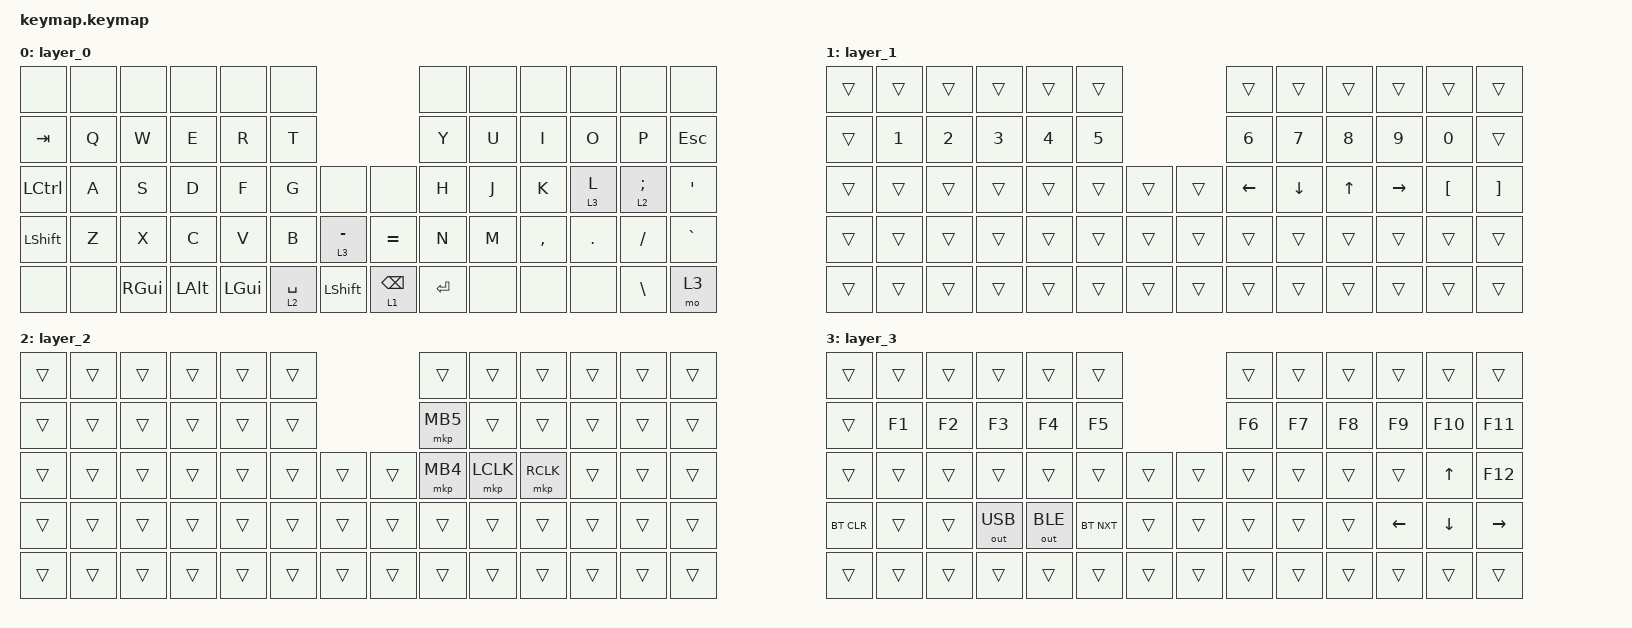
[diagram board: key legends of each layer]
#include <behaviors.dtsi>
#include <dt-bindings/zmk/bt.h>
#include <dt-bindings/zmk/input_transform.h>
#include <dt-bindings/zmk/keys.h>
#include <dt-bindings/zmk/outputs.h>
#include <dt-bindings/zmk/pointing.h>
#include <input/processors.dtsi>

/ {
    combos {
        compatible = "zmk,combos";

        bt_clear {
            bindings = <&bt BT_CLR>;
            key-positions = <28 29>;
            layers = <2>;
        };
    };

    keymap {
        compatible = "zmk,keymap";

        layer_0 {
            bindings = <
&none      &none  &none     &none     &none     &none                                    &none      &none  &none      &none    &none       &none
&kp TAB    &kp Q  &kp W     &kp E     &kp R     &kp T                                    &kp Y      &kp U  &kp I      &kp O    &kp P       &kp ESC
&kp LCTRL  &kp A  &kp S     &kp D     &kp F     &kp G        &none           &none       &kp H      &kp J  &kp K      &lt 3 L  &lt 2 SEMI  &kp SQT
&kp LSHFT  &kp Z  &kp X     &kp C     &kp V     &kp B        &lt 3 MINUS     &kp EQUAL   &kp N      &kp M  &kp COMMA  &kp DOT  &kp FSLH    &kp GRAVE
&none      &none  &kp RGUI  &kp LALT  &kp LGUI  &lt 2 SPACE  &kp LEFT_SHIFT  &lt 1 BSPC  &kp ENTER  &none  &none      &none    &kp BSLH    &mo 3
            >;
        };

        // Number keys
        layer_1 {
            bindings = <
&trans  &trans  &trans  &trans  &trans  &trans                  &trans    &trans    &trans  &trans     &trans    &trans
&trans  &kp N1  &kp N2  &kp N3  &kp N4  &kp N5                  &kp N6    &kp N7    &kp N8  &kp N9     &kp N0    &trans
&trans  &trans  &trans  &trans  &trans  &trans  &trans  &trans  &kp LEFT  &kp DOWN  &kp UP  &kp RIGHT  &kp LBKT  &kp RBKT
&trans  &trans  &trans  &trans  &trans  &trans  &trans  &trans  &trans    &trans    &trans  &trans     &trans    &trans
&trans  &trans  &trans  &trans  &trans  &trans  &trans  &trans  &trans    &trans    &trans  &trans     &trans    &trans
            >;
        };

        // Mouse
        layer_2 {
            bindings = <
&trans  &trans  &trans  &trans  &trans  &trans                   &trans    &trans     &trans     &trans  &trans  &trans
&trans  &trans  &trans  &trans  &trans  &trans                   &mkp MB5  &trans     &trans     &trans  &trans  &trans
&trans  &trans  &trans  &trans  &trans  &trans  &trans  &trans   &mkp MB4  &mkp LCLK  &mkp RCLK  &trans  &trans  &trans
&trans  &trans  &trans  &trans  &trans  &trans  &trans  &trans   &trans    &trans     &trans     &trans  &trans  &trans
&trans  &trans  &trans  &trans  &trans  &trans  &trans  &trans   &trans    &trans     &trans     &trans  &trans  &trans
            >;
        };

        // Mouse-scroll & function keys
        layer_3 {
            bindings = <
&trans      &trans  &trans  &trans        &trans        &trans                      &trans  &trans  &trans  &trans    &trans    &trans
&trans      &kp F1  &kp F2  &kp F3        &kp F4        &kp F5                      &kp F6  &kp F7  &kp F8  &kp F9    &kp F10   &kp F11
&trans      &trans  &trans  &trans        &trans        &trans      &trans  &trans  &trans  &trans  &trans  &trans    &kp UP    &kp F12
&bt BT_CLR  &trans  &trans  &out OUT_USB  &out OUT_BLE  &bt BT_NXT  &trans  &trans  &trans  &trans  &trans  &kp LEFT  &kp DOWN  &kp RIGHT
&trans      &trans  &trans  &trans        &trans        &trans      &trans  &trans  &trans  &trans  &trans  &trans    &trans    &trans
            >;
        };
    };
};

&trackball_listener {
    scroll_mode {
        layers = <3>;
        input-processors = <
            &zip_xy_transform INPUT_TRANSFORM_X_INVERT
            &zip_xy_scaler 1 8
            &zip_xy_to_scroll_mapper
        >;
    };
};
